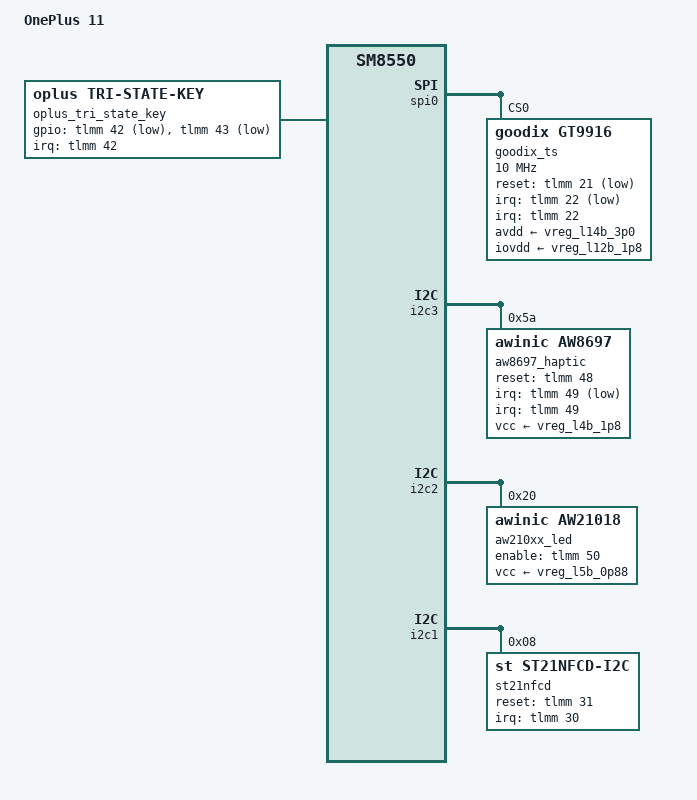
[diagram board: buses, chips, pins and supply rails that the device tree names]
// SPDX-License-Identifier: GPL-2.0-only
/*
 * OnePlus 11 (CPH2449 / CPH2447) device tree
 *
 * Based on CLO msm-kernel-6.1 sm8550-mtp.dtsi
 *
 * This file adds OnePlus 11 peripheral nodes on top of the Qualcomm
 * sm8550.dtsi base.  GPIO numbers are taken from the OnePlus 5.15 vendor
 * tree DTS fragments and must be verified against the actual schematic.
 * Nodes marked TODO need GPIO/IRQ verification before enabling.
 *
 * Usage (in top-level .dts):
 *   #include "sm8550.dtsi"
 *   #include "pm8550.dtsi"       // or relevant PMIC dtsi
 *   #include "sm8550-oneplus11.dtsi"
 */

/ {
	model = "OnePlus 11";
	compatible = "oneplus,salami", "qcom,sm8550";
};

/* ------------------------------------------------------------------ */
/* Alert slider (tri-state key)                                        */
/* GPIO numbers are approximate — verify against schematic             */
/* ------------------------------------------------------------------ */
&soc {
	oplus_tri_state_key: oplus,tri-state-key {
		compatible = "oplus,tri-state-key";
		pinctrl-names = "default";
		pinctrl-0 = <&trikey_pins>;
		/* TODO: replace 42/43 with actual GPIO numbers from schematic */
		gpios = <&tlmm 42 GPIO_ACTIVE_LOW>,   /* position-up sensor   */
		        <&tlmm 43 GPIO_ACTIVE_LOW>;    /* position-down sensor */
		interrupt-parent = <&tlmm>;
		interrupts = <42 IRQ_TYPE_EDGE_BOTH>,
		             <43 IRQ_TYPE_EDGE_BOTH>;
		interrupt-names = "key-up", "key-down";
	};
};

&tlmm {
	trikey_pins: trikey-pins {
		mux {
			pins = "gpio42", "gpio43"; /* TODO: verify */
			function = "gpio";
		};
		config {
			pins = "gpio42", "gpio43";
			drive-strength = <2>;
			bias-pull-up;
			input-enable;
		};
	};
};

/* ------------------------------------------------------------------ */
/* Touchscreen — Goodix GT9916 (SPI)                                   */
/* Uses mainline goodix_berlin driver (CONFIG_TOUCHSCREEN_GOODIX_BERLIN_SPI) */
/* ------------------------------------------------------------------ */
&spi0 { /* TODO: verify which SPI instance, may be &spi10 or similar */
	status = "okay";
	#address-cells = <1>;
	#size-cells = <0>;

	goodix_ts: touchscreen@0 {
		compatible = "goodix,gt9916";
		reg = <0>;
		spi-max-frequency = <10000000>;

		/* TODO: verify GPIO numbers */
		interrupt-parent = <&tlmm>;
		interrupts = <22 IRQ_TYPE_LEVEL_LOW>; /* touch IRQ */

		reset-gpios  = <&tlmm 21 GPIO_ACTIVE_LOW>; /* touch reset */
		irq-gpios    = <&tlmm 22 GPIO_ACTIVE_LOW>;

		avdd-supply  = <&vreg_l14b_3p0>;
		iovdd-supply = <&vreg_l12b_1p8>;

		touchscreen-size-x = <1440>;
		touchscreen-size-y = <3216>;

		pinctrl-names = "default", "sleep";
		pinctrl-0 = <&ts_active>;
		pinctrl-1 = <&ts_sleep>;
	};
};

&tlmm {
	ts_active: ts-active {
		mux {
			pins = "gpio21", "gpio22"; /* TODO: verify */
			function = "gpio";
		};
		config {
			pins = "gpio21", "gpio22";
			drive-strength = <8>;
			bias-pull-up;
		};
	};

	ts_sleep: ts-sleep {
		mux {
			pins = "gpio21", "gpio22";
			function = "gpio";
		};
		config {
			pins = "gpio21";
			drive-strength = <2>;
			bias-pull-down;
			output-low;
		};
		config-irq {
			pins = "gpio22";
			drive-strength = <2>;
			bias-disable;
			input-enable;
		};
	};
};

/* ------------------------------------------------------------------ */
/* Haptics — AW8697                                                    */
/* ------------------------------------------------------------------ */
&i2c3 { /* TODO: verify I2C bus */
	status = "okay";

	aw8697_haptic: haptic@5a {
		compatible = "awinic,aw8697";
		reg = <0x5a>;
		/* TODO: verify GPIO */
		reset-gpio = <&tlmm 48 GPIO_ACTIVE_HIGH>;
		irq-gpio   = <&tlmm 49 GPIO_ACTIVE_LOW>;
		interrupt-parent = <&tlmm>;
		interrupts = <49 IRQ_TYPE_EDGE_FALLING>;
		vcc-supply = <&vreg_l4b_1p8>;
	};
};

/* ------------------------------------------------------------------ */
/* Notification LED — AW210XX                                          */
/* ------------------------------------------------------------------ */
&i2c2 { /* TODO: verify I2C bus */
	status = "okay";

	aw210xx_led: led-controller@20 {
		compatible = "awinic,aw21018";
		reg = <0x20>;
		/* TODO: verify GPIO */
		enable-gpios = <&tlmm 50 GPIO_ACTIVE_HIGH>;
		vcc-supply = <&vreg_l5b_0p88>;
		#address-cells = <1>;
		#size-cells = <0>;

		led@0 {
			reg = <0>;
			label = "red";
			linux,default-trigger = "none";
		};

		led@1 {
			reg = <1>;
			label = "green";
			linux,default-trigger = "none";
		};

		led@2 {
			reg = <2>;
			label = "blue";
			linux,default-trigger = "none";
		};
	};
};

/* ------------------------------------------------------------------ */
/* NFC — ST21NFCD (I2C)                                               */
/* Uses mainline st21nfcd driver (CONFIG_NFC_ST21NFCD_I2C)            */
/* ------------------------------------------------------------------ */
&i2c1 { /* TODO: verify I2C bus */
	status = "okay";

	st21nfcd: nfc@8 {
		compatible = "st,st21nfcd-i2c";
		reg = <0x08>;
		/* TODO: verify GPIOs */
		interrupt-parent = <&tlmm>;
		interrupts = <30 IRQ_TYPE_EDGE_RISING>;
		reset-gpios  = <&tlmm 31 GPIO_ACTIVE_HIGH>;
		irq-gpios    = <&tlmm 30 GPIO_ACTIVE_HIGH>;
		ese-present;
		uicc-present;
	};
};
